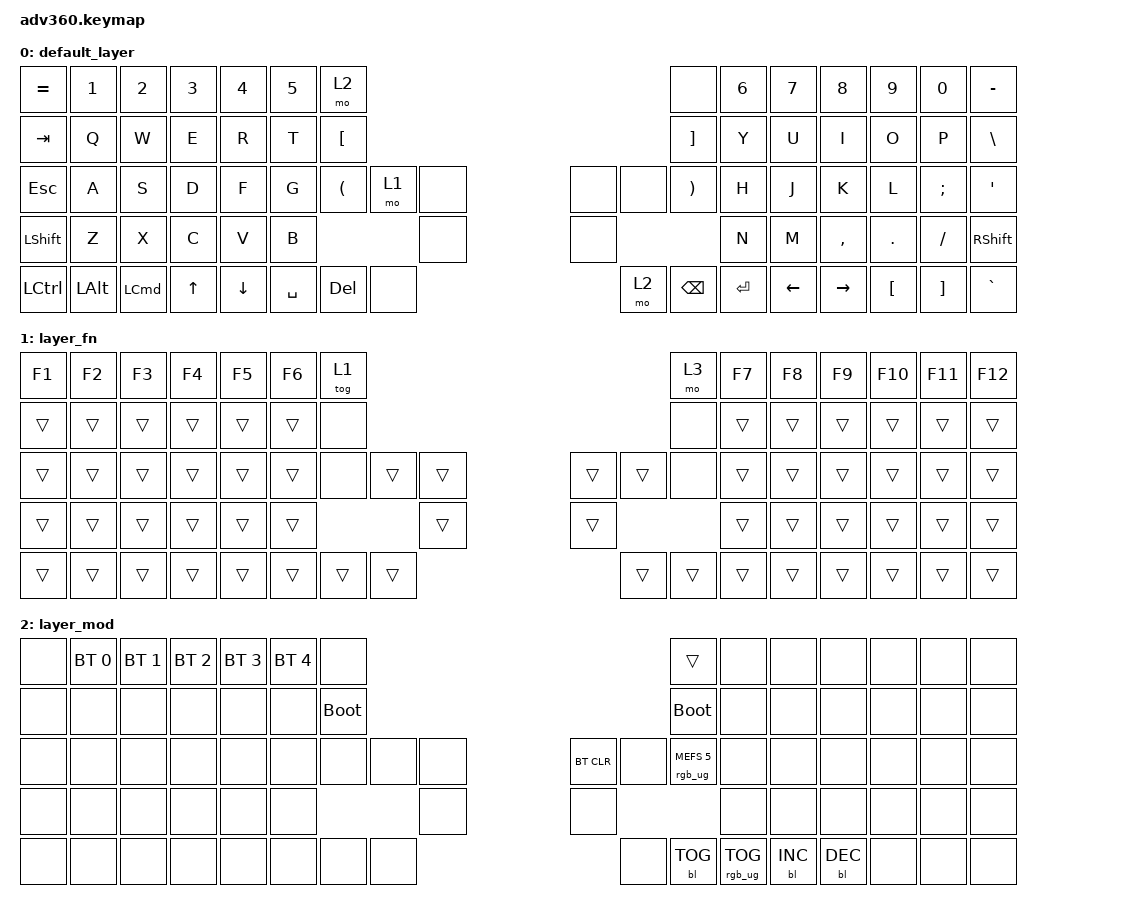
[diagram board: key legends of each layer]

/*
 * Copyright (c) 2020 The ZMK Contributors
 *
 * SPDX-License-Identifier: MIT
 */


/* THIS FILE WAS GENERATED!
 *
 * This file was generated automatically. You may or may not want to
 * edit it directly.
 */

#include <behaviors.dtsi>
#include <dt-bindings/zmk/keys.h>
#include <dt-bindings/zmk/bt.h>
#include <dt-bindings/zmk/rgb.h>
#include <dt-bindings/zmk/backlight.h>

/ {
  behaviors {
    #include "macros.dtsi"
    #include "version.dtsi"

    hm: homerow_mods {
        compatible = "zmk,behavior-hold-tap";
        label = "HOMEROW_MODS";
        #binding-cells = <2>;
        tapping-term-ms = <200>;
        quick_tap_ms = <175>;
        flavor = "tap-preferred";
        bindings = <&kp>, <&kp>;
    };
  };

    keymap {
        compatible = "zmk,keymap";


        default_layer {
            bindings = <
 &kp EQUAL    &kp N1    &kp N2  &kp N3    &kp N4  &kp N5                           &mo 2                                                                     &none  &kp N6    &kp N7     &kp N8    &kp N9    &kp N0  &kp MINUS
   &kp TAB     &kp Q     &kp W   &kp E     &kp R   &kp T                &kp LEFT_BRACKET                                                         &kp RIGHT_BRACKET   &kp Y     &kp U      &kp I     &kp O     &kp P   &kp BSLH
   &kp ESC     &kp A     &kp S   &kp D     &kp F   &kp G            &kp LEFT_PARENTHESIS    &mo 1   &none                   &none     &none  &kp RIGHT_PARENTHESIS   &kp H     &kp J      &kp K     &kp L  &kp SEMI    &kp SQT
 &kp LSHFT     &kp Z     &kp X   &kp C     &kp V   &kp B                                            &none                   &none                                    &kp N     &kp M  &kp COMMA   &kp DOT  &kp FSLH  &kp RSHFT
 &kp LCTRL  &kp LALT  &kp LCMD  &kp UP  &kp DOWN                               &kp SPACE  &kp DEL   &none                   &mo 2  &kp BSPC              &kp ENTER          &kp LEFT  &kp RIGHT  &kp LBKT  &kp RBKT  &kp GRAVE
            >;
        };

        layer_fn {
            bindings = <
 &kp F1  &kp F2  &kp F3  &kp F4  &kp F5  &kp F6            &tog 1                                                   &mo 3  &kp F7  &kp F8  &kp F9  &kp F10  &kp F11  &kp F12
 &trans  &trans  &trans  &trans  &trans  &trans             &none                                                   &none  &trans  &trans  &trans   &trans   &trans   &trans
 &trans  &trans  &trans  &trans  &trans  &trans             &none  &trans  &trans                  &trans  &trans   &none  &trans  &trans  &trans   &trans   &trans   &trans
 &trans  &trans  &trans  &trans  &trans  &trans                            &trans                  &trans                  &trans  &trans  &trans   &trans   &trans   &trans
 &trans  &trans  &trans  &trans  &trans                    &trans  &trans  &trans                  &trans  &trans  &trans          &trans  &trans   &trans   &trans   &trans
            >;
        };

        layer_mod {
            bindings = <
  &none  &bt BT_SEL 0  &bt BT_SEL 1  &bt BT_SEL 2  &bt BT_SEL 3  &bt BT_SEL 4                  &none                                                                          &trans   &none       &none       &none   &none   &none   &none
  &none         &none         &none         &none         &none         &none            &bootloader                                                                     &bootloader   &none       &none       &none   &none   &none   &none
  &none         &none         &none         &none         &none         &none                  &none   &none   &none                  &bt BT_CLR       &none  &rgb_ug RGB_MEFS_CMD 5   &none       &none       &none   &none   &none   &none
  &none         &none         &none         &none         &none         &none                                  &none                       &none                                       &none       &none       &none   &none   &none   &none
  &none         &none         &none         &none         &none                                &none   &none   &none                       &none  &bl BL_TOG         &rgb_ug RGB_TOG          &bl BL_INC  &bl BL_DEC   &none   &none   &none
            >;
        };

    };
};
